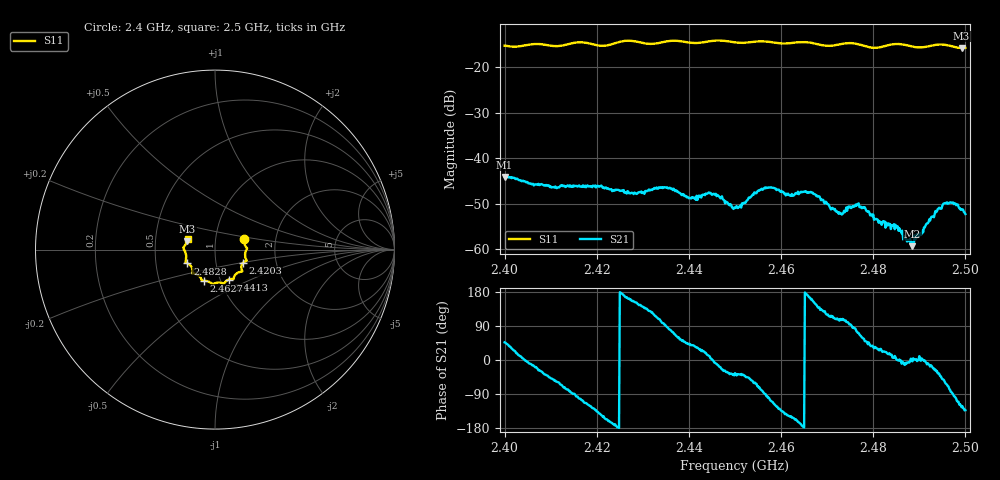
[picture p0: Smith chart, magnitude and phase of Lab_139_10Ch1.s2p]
# Hz S RI R 50
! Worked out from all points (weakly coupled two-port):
!   601 points, 2.4 GHz to 2.5 GHz, reference 50 ohm
!   highest |S21| = -44.13 dB at 2.4 GHz (marker M1); lowest = -59.3 dB at 2.4885 GHz (marker M2)
!   lowest |S11| = -15.8 dB at 2.4992 GHz (marker M3), VSWR 1.39, Z = 36.4 + j3.43 ohm
!   |S11| at or under -10 dB: start of sweep to end of sweep
!   S12 and S22 are empty: the file has one direction only
!   S11 on the Smith chart (normalised r, x): 2.4 GHz: 1.37, +0.17; 2.4203 GHz: 1.35, -0.20; 2.4413 GHz: 1.09, -0.38; 2.4627 GHz: 0.83, -0.30; 2.4828 GHz: 0.73, -0.12; 2.5 GHz: 0.73, +0.09
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2.4e9  0.1614 0.0583  0.00426 0.00452  0 0  0 0
2.410333e9  0.1701 -0.0126  0.00311 -0.00366  0 0  0 0
2.416667e9  0.1763 -0.0623  -0.00134 -0.00468  0 0  0 0
2.420333e9  0.1561 -0.0732  -0.00371 -0.00326  0 0  0 0
2.428333e9  0.1471 -0.1226  -0.00368 0.00193  0 0  0 0
2.433333e9  0.1075 -0.148  -0.0015 0.00438  0 0  0 0
2.441333e9  0.0753 -0.1673  0.00303 0.00213  0 0  0 0
2.444833e9  0.0524 -0.1859  0.00409 0.000252  0 0  0 0
2.45e9  0.0303 -0.1839  0.00233 -0.00162  0 0  0 0
2.456833e9  -0.016 -0.1898  -0.000469 -0.00475  0 0  0 0
2.462667e9  -0.0616 -0.174  -0.00345 -0.00177  0 0  0 0
2.466667e9  -0.0745 -0.1682  -0.00394 0.0014  0 0  0 0
2.472667e9  -0.1154 -0.1342  -0.000606 0.00247  0 0  0 0
2.476667e9  -0.1251 -0.1274  0.000987 0.00298  0 0  0 0
2.482833e9  -0.1532 -0.0769  0.00183 0.000694  0 0  0 0
2.483333e9  -0.1568 -0.0751  0.00186 0.000513  0 0  0 0
2.485333e9  -0.1645 -0.0706  0.00178 -4.01e-06  0 0  0 0
2.487e9  -0.1631 -0.0624  0.00134 -0.00018  0 0  0 0
2.4885e9  -0.1606 -0.0482  0.00108 -6.78e-05  0 0  0 0
2.4955e9  -0.175 0.0136  0.00176 -0.00268  0 0  0 0
2.499167e9  -0.155 0.0458  -0.00156 -0.00227  0 0  0 0
2.5e9  -0.1522 0.0574  -0.00164 -0.00179  0 0  0 0
